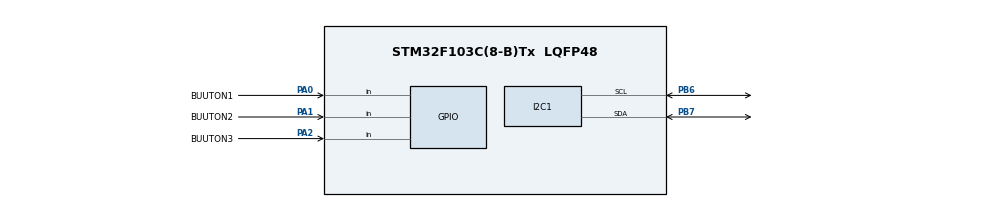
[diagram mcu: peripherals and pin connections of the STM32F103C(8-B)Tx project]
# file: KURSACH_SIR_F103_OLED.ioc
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Mcu.Family=STM32F1
Mcu.Name=STM32F103C(8-B)Tx
Mcu.Package=LQFP48
NVIC.I2C1_ER_IRQn=true\:0\:0\:false\:false\:true\:true\:true
NVIC.I2C1_EV_IRQn=true\:0\:0\:false\:false\:true\:true\:true
NVIC.PriorityGroup=NVIC_PRIORITYGROUP_4
NVIC.TIM2_IRQn=true\:0\:0\:false\:false\:true\:true\:true
NVIC.TIM3_IRQn=true\:0\:0\:false\:false\:true\:true\:true
PA0-WKUP.GPIO_Label=BUUTON1
PA0-WKUP.GPIO_PuPd=GPIO_PULLUP
PA0-WKUP.Signal=GPIO_Input
PA1.GPIO_Label=BUUTON2
PA1.GPIO_PuPd=GPIO_PULLUP
PA1.Signal=GPIO_Input
PA13.Mode=Serial_Wire
PA13.Signal=SYS_JTMS-SWDIO
PA14.Mode=Serial_Wire
PA14.Signal=SYS_JTCK-SWCLK
PA2.GPIO_Label=BUUTON3
PA2.GPIO_PuPd=GPIO_PULLUP
PA2.Signal=GPIO_Input
PB6.Mode=I2C
PB6.Signal=I2C1_SCL
PB7.Mode=I2C
PB7.Signal=I2C1_SDA
PD0-OSC_IN.Mode=HSE-External-Oscillator
PD0-OSC_IN.Signal=RCC_OSC_IN
PD1-OSC_OUT.Mode=HSE-External-Oscillator
PD1-OSC_OUT.Signal=RCC_OSC_OUT
ProjectManager.HeapSize=0x200
ProjectManager.StackSize=0x400
ProjectManager.TargetToolchain=EWARM V8.32
RCC.APB1Freq_Value=8000000
RCC.APB2Freq_Value=8000000
TIM2.Period=800
TIM2.Prescaler=99
TIM3.Period=200
TIM3.Prescaler=7999
VP_TIM2_VS_ClockSourceINT.Mode=Internal
VP_TIM3_VS_ClockSourceINT.Mode=Internal
board=custom

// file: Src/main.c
/* USER CODE BEGIN Header */
/**
  ******************************************************************************
  * @file           : main.c
  * @brief          : Main program body
  ******************************************************************************
  * @attention
  *
  * <h2><center>&copy; Copyright (c) 2020 STMicroelectronics.
  * All rights reserved.</center></h2>
  *
  * This software component is licensed by ST under BSD 3-Clause license,
  * the "License"; You may not use this file except in compliance with the
  * License. You may obtain a copy of the License at:
  *                        opensource.org/licenses/BSD-3-Clause
  *
  ******************************************************************************
  */
/* USER CODE END Header */

#include "main.h"

/* USER CODE BEGIN Includes */
#include <string.h>
#include "ssd1306.h"
#include "global.h"
/* USER CODE END Includes */

I2C_HandleTypeDef hi2c1;

void SystemClock_Config(void);
static void MX_GPIO_Init(void);
static void MX_I2C1_Init(void);
static void MX_TIM2_Init(void);
static void MX_TIM3_Init(void);

int main(void)
{

  /* MCU Configuration--------------------------------------------------------*/

  /* Reset of all peripherals, Initializes the Flash interface and the Systick. */
  HAL_Init();

  /* Configure the system clock */
  SystemClock_Config();

  /* Initialize all configured peripherals */
  MX_GPIO_Init();
  MX_I2C1_Init();
  MX_TIM2_Init();
  MX_TIM3_Init();
  /* USER CODE BEGIN 2 */
  ssd1306_Init();
  //HAL_Delay(1000);
  ssd1306_Fill(FON);
  //ssd1306_UpdateScreen();

  T1_min=MIN;
  T1_sec=SEC;
  T1_msec=MSEC;
  T2_min=MIN;
  T2_sec=SEC;
  T2_msec=MSEC;

  LL_TIM_EnableIT_UPDATE(TIM2);
  LL_TIM_EnableCounter(TIM2);

  LL_TIM_EnableIT_UPDATE(TIM3);
  LL_TIM_EnableCounter(TIM3);

  /* USER CODE END 2 */

  /* Infinite loop */
  while (1)
  {

  }
}

void SystemClock_Config(void)
{
  LL_FLASH_SetLatency(LL_FLASH_LATENCY_0);

  if(LL_FLASH_GetLatency() != LL_FLASH_LATENCY_0)
  {
    Error_Handler();
  }
  LL_RCC_HSI_SetCalibTrimming(16);
  LL_RCC_HSI_Enable();

   /* Wait till HSI is ready */
  while(LL_RCC_HSI_IsReady() != 1)
  {

  }
  LL_RCC_SetAHBPrescaler(LL_RCC_SYSCLK_DIV_1);
  LL_RCC_SetAPB1Prescaler(LL_RCC_APB1_DIV_1);
  LL_RCC_SetAPB2Prescaler(LL_RCC_APB2_DIV_1);
  LL_RCC_SetSysClkSource(LL_RCC_SYS_CLKSOURCE_HSI);

   /* Wait till System clock is ready */
  while(LL_RCC_GetSysClkSource() != LL_RCC_SYS_CLKSOURCE_STATUS_HSI)
  {

  }
  LL_SetSystemCoreClock(8000000);

   /* Update the time base */
  if (HAL_InitTick (TICK_INT_PRIORITY) != HAL_OK)
  {
    Error_Handler();
  };
}

static void MX_I2C1_Init(void)
{

  hi2c1.Instance = I2C1;
  hi2c1.Init.ClockSpeed = 100000;
  hi2c1.Init.DutyCycle = I2C_DUTYCYCLE_2;
  hi2c1.Init.OwnAddress1 = 0;
  hi2c1.Init.AddressingMode = I2C_ADDRESSINGMODE_7BIT;
  hi2c1.Init.DualAddressMode = I2C_DUALADDRESS_DISABLE;
  hi2c1.Init.OwnAddress2 = 0;
  hi2c1.Init.GeneralCallMode = I2C_GENERALCALL_DISABLE;
  hi2c1.Init.NoStretchMode = I2C_NOSTRETCH_DISABLE;
  if (HAL_I2C_Init(&hi2c1) != HAL_OK)
  {
    Error_Handler();
  }

}

static void MX_TIM2_Init(void)
{

  LL_TIM_InitTypeDef TIM_InitStruct = {0};

  /* Peripheral clock enable */
  LL_APB1_GRP1_EnableClock(LL_APB1_GRP1_PERIPH_TIM2);

  /* TIM2 interrupt Init */
  NVIC_SetPriority(TIM2_IRQn, NVIC_EncodePriority(NVIC_GetPriorityGrouping(),0, 0));
  NVIC_EnableIRQ(TIM2_IRQn);

  TIM_InitStruct.Prescaler = 99;
  TIM_InitStruct.CounterMode = LL_TIM_COUNTERMODE_UP;
  TIM_InitStruct.Autoreload = 800;
  TIM_InitStruct.ClockDivision = LL_TIM_CLOCKDIVISION_DIV1;
  LL_TIM_Init(TIM2, &TIM_InitStruct);
  LL_TIM_DisableARRPreload(TIM2);
  LL_TIM_SetClockSource(TIM2, LL_TIM_CLOCKSOURCE_INTERNAL);
  LL_TIM_SetTriggerOutput(TIM2, LL_TIM_TRGO_RESET);
  LL_TIM_DisableMasterSlaveMode(TIM2);

}

static void MX_TIM3_Init(void)
{

  LL_TIM_InitTypeDef TIM_InitStruct = {0};

  /* Peripheral clock enable */
  LL_APB1_GRP1_EnableClock(LL_APB1_GRP1_PERIPH_TIM3);

  /* TIM3 interrupt Init */
  NVIC_SetPriority(TIM3_IRQn, NVIC_EncodePriority(NVIC_GetPriorityGrouping(),0, 0));
  NVIC_EnableIRQ(TIM3_IRQn);

  TIM_InitStruct.Prescaler = 7999;
  TIM_InitStruct.CounterMode = LL_TIM_COUNTERMODE_UP;
  TIM_InitStruct.Autoreload = 200;
  TIM_InitStruct.ClockDivision = LL_TIM_CLOCKDIVISION_DIV1;
  LL_TIM_Init(TIM3, &TIM_InitStruct);
  LL_TIM_DisableARRPreload(TIM3);
  LL_TIM_SetClockSource(TIM3, LL_TIM_CLOCKSOURCE_INTERNAL);
  LL_TIM_SetTriggerOutput(TIM3, LL_TIM_TRGO_RESET);
  LL_TIM_DisableMasterSlaveMode(TIM3);

}

static void MX_GPIO_Init(void)
{
  GPIO_InitTypeDef GPIO_InitStruct = {0};

  /* GPIO Ports Clock Enable */
  __HAL_RCC_GPIOD_CLK_ENABLE();
  __HAL_RCC_GPIOA_CLK_ENABLE();
  __HAL_RCC_GPIOB_CLK_ENABLE();

  /*Configure GPIO pins : BUUTON1_Pin BUUTON2_Pin BUUTON3_Pin */
  GPIO_InitStruct.Pin = BUUTON1_Pin|BUUTON2_Pin|BUUTON3_Pin;
  GPIO_InitStruct.Mode = GPIO_MODE_INPUT;
  GPIO_InitStruct.Pull = GPIO_PULLUP;
  HAL_GPIO_Init(GPIOA, &GPIO_InitStruct);

}

void Error_Handler(void)
{
}

/************************ (C) COPYRIGHT STMicroelectronics *****END OF FILE****/
